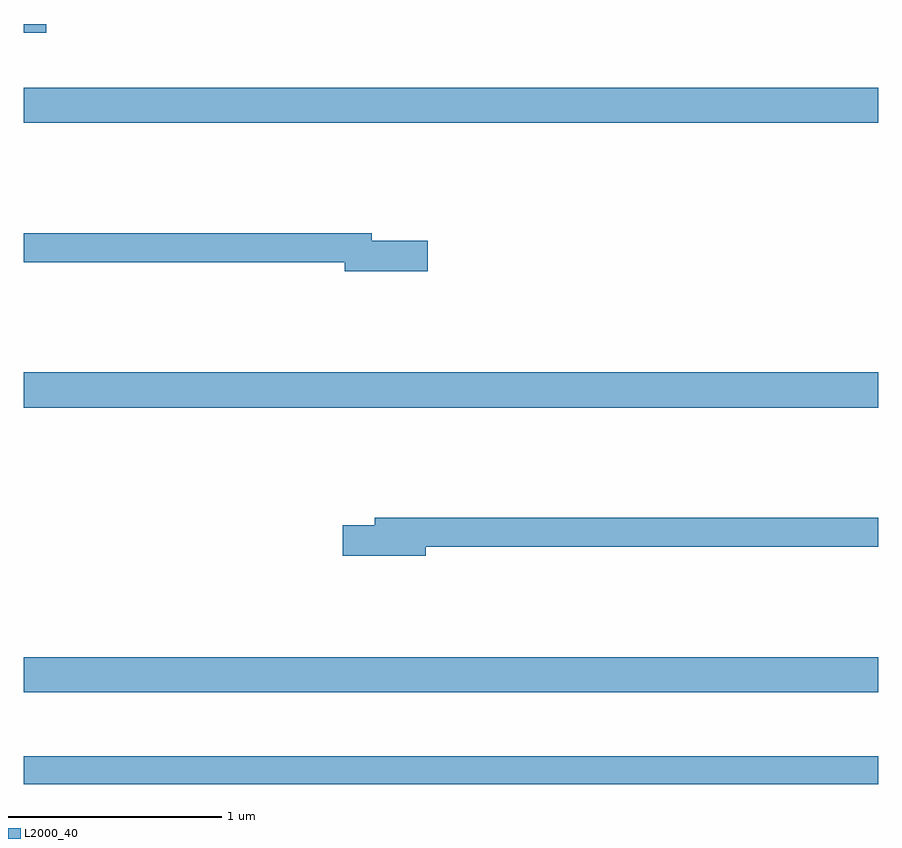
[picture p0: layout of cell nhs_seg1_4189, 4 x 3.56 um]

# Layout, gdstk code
import gdstk
lib = gdstk.Library(unit=1e-6, precision=1e-09)
def R(c, l, rs):  # rectangles x0, y0, x1, y1
    for r in rs: c.add(gdstk.rectangle(r[:2], r[2:], *l))
def A(c, l, x, y, w, h, nx, ny, dx, dy):  # array of equal rectangles
    R(c, l, [(x+i*dx, y+j*dy, x+i*dx+w, y+j*dy+h) for i in range(nx) for j in range(ny)])
def P(c, l, *ps):  # polygons
    for p in ps: c.add(gdstk.Polygon(p, *l))
L2000_40 = (2000, 40)

nhs_seg1_4189 = lib.new_cell('nhs_seg1_4189')
A(nhs_seg1_4189, L2000_40, 339, 545.072, 4, 0.164, 1, 3, 0, 1.332)
R(nhs_seg1_4189, L2000_40, [(339,544.642,343,544.771), (339,548.159,339.106,548.199)])
P(nhs_seg1_4189, L2000_40, [(340.891,547.184),(340.63,547.184),(340.63,547.22),(339,547.22),(339,547.084),(340.502,547.084),(340.502,547.042),(340.891,547.042)],
  [(340.882,545.752),(343,545.752),(343,545.888),(340.643,545.888),(340.643,545.852),(340.494,545.852),(340.494,545.71),(340.882,545.71)])

lib.write_gds('nhs_seg1_4189.gds')
